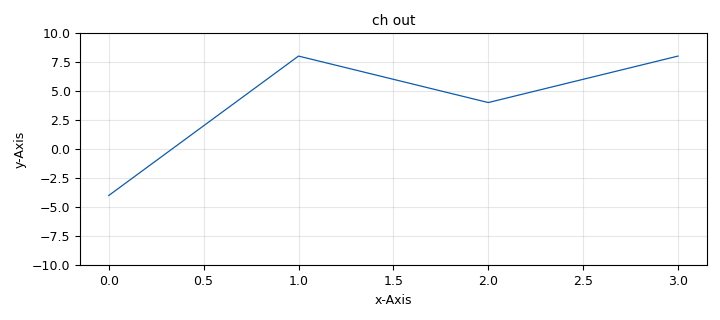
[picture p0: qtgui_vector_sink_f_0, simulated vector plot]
<?xml version='1.0' encoding='utf-8'?>
<?grc format='1' created='3.7.9'?>
<flow_graph>
<block>
<key>options</key>
<param><key>id</key><value>top_block</value></param>
<param><key>category</key><value>Custom</value></param>
<param><key>generate_options</key><value>qt_gui</value></param>
</block>
<block>
<key>variable_qtgui_range</key>
<param><key>id</key><value>na</value></param>
<param><key>value</key><value>0</value></param>
<param><key>orient</key><value>Qt.Horizontal</value></param>
<param><key>start</key><value>0</value></param>
<param><key>step</key><value>0.1</value></param>
<param><key>stop</key><value>10</value></param>
</block>
<block>
<key>variable</key>
<param><key>id</key><value>samp_rate</value></param>
<param><key>value</key><value>32000</value></param>
</block>
<block>
<key>analog_const_source_x</key>
<param><key>id</key><value>analog_const_source_x_0</value></param>
<param><key>const</key><value>2</value></param>
<param><key>type</key><value>float</value></param>
</block>
<block>
<key>analog_const_source_x</key>
<param><key>id</key><value>analog_const_source_x_0_0</value></param>
<param><key>const</key><value>6</value></param>
<param><key>type</key><value>float</value></param>
</block>
<block>
<key>analog_noise_source_x</key>
<param><key>id</key><value>analog_noise_source_x_0</value></param>
<param><key>amp</key><value>na</value></param>
<param><key>noise_type</key><value>analog.GR_GAUSSIAN</value></param>
<param><key>type</key><value>float</value></param>
<param><key>seed</key><value>0</value></param>
</block>
<block>
<key>blocks_add_xx</key>
<param><key>id</key><value>blocks_add_xx_0</value></param>
<param><key>type</key><value>float</value></param>
<param><key>vlen</key><value>4</value></param>
</block>
<block>
<key>blocks_add_xx</key>
<param><key>id</key><value>blocks_add_xx_1</value></param>
<param><key>type</key><value>float</value></param>
<param><key>num_inputs</key><value>4</value></param>
</block>
<block>
<key>blocks_add_xx</key>
<param><key>id</key><value>blocks_add_xx_1_1</value></param>
<param><key>type</key><value>float</value></param>
<param><key>num_inputs</key><value>4</value></param>
</block>
<block>
<key>blocks_add_xx</key>
<param><key>id</key><value>blocks_add_xx_2</value></param>
<param><key>type</key><value>float</value></param>
</block>
<block>
<key>blocks_multiply_const_vxx</key>
<param><key>id</key><value>blocks_multiply_const_vxx_0</value></param>
<param><key>const</key><value>0.25</value></param>
<param><key>type</key><value>float</value></param>
</block>
<block>
<key>blocks_multiply_const_vxx</key>
<param><key>id</key><value>blocks_multiply_const_vxx_0_0</value></param>
<param><key>const</key><value>(1,1,-1,1)</value></param>
<param><key>type</key><value>float</value></param>
<param><key>vlen</key><value>4</value></param>
</block>
<block>
<key>blocks_multiply_const_vxx</key>
<param><key>id</key><value>blocks_multiply_const_vxx_0_0_0</value></param>
<param><key>const</key><value>(-1,1,1,1)</value></param>
<param><key>type</key><value>float</value></param>
<param><key>vlen</key><value>4</value></param>
</block>
<block>
<key>blocks_multiply_const_vxx</key>
<param><key>id</key><value>blocks_multiply_const_vxx_0_0_0_3</value></param>
<param><key>const</key><value>(-1,1,1,1)</value></param>
<param><key>type</key><value>float</value></param>
<param><key>vlen</key><value>4</value></param>
</block>
<block>
<key>blocks_multiply_const_vxx</key>
<param><key>id</key><value>blocks_multiply_const_vxx_0_0_2</value></param>
<param><key>const</key><value>(1,1,-1,1)</value></param>
<param><key>type</key><value>float</value></param>
<param><key>vlen</key><value>4</value></param>
</block>
<block>
<key>blocks_multiply_const_vxx</key>
<param><key>id</key><value>blocks_multiply_const_vxx_0_1</value></param>
<param><key>const</key><value>0.25</value></param>
<param><key>type</key><value>float</value></param>
</block>
<block>
<key>blocks_stream_to_vector</key>
<param><key>id</key><value>blocks_stream_to_vector_0</value></param>
<param><key>type</key><value>float</value></param>
<param><key>num_items</key><value>4</value></param>
</block>
<block>
<key>blocks_stream_to_vector</key>
<param><key>id</key><value>blocks_stream_to_vector_1</value></param>
<param><key>type</key><value>float</value></param>
<param><key>num_items</key><value>4</value></param>
</block>
<block>
<key>blocks_stream_to_vector</key>
<param><key>id</key><value>blocks_stream_to_vector_1_0</value></param>
<param><key>type</key><value>float</value></param>
<param><key>num_items</key><value>4</value></param>
</block>
<block>
<key>blocks_vector_to_stream</key>
<param><key>id</key><value>blocks_vector_to_stream_0</value></param>
<param><key>type</key><value>float</value></param>
<param><key>num_items</key><value>4</value></param>
</block>
<block>
<key>blocks_vector_to_streams</key>
<param><key>id</key><value>blocks_vector_to_streams_0</value></param>
<param><key>type</key><value>float</value></param>
<param><key>num_streams</key><value>4</value></param>
</block>
<block>
<key>blocks_vector_to_streams</key>
<param><key>id</key><value>blocks_vector_to_streams_0_0</value></param>
<param><key>type</key><value>float</value></param>
<param><key>num_streams</key><value>4</value></param>
</block>
<block>
<key>qtgui_number_sink</key>
<param><key>id</key><value>qtgui_number_sink_0</value></param>
<param><key>graph_type</key><value>qtgui.NUM_GRAPH_HORIZ</value></param>
<param><key>type</key><value>float</value></param>
<param><key>max</key><value>10</value></param>
<param><key>min</key><value>-10</value></param>
<param><key>name</key><value>"user 1"</value></param>
<param><key>update_time</key><value>10</value></param>
</block>
<block>
<key>qtgui_number_sink</key>
<param><key>id</key><value>qtgui_number_sink_0_0</value></param>
<param><key>graph_type</key><value>qtgui.NUM_GRAPH_HORIZ</value></param>
<param><key>type</key><value>float</value></param>
<param><key>max</key><value>10</value></param>
<param><key>min</key><value>-10</value></param>
<param><key>name</key><value>"user 2"</value></param>
</block>
<block>
<key>qtgui_vector_sink_f</key>
<param><key>id</key><value>qtgui_vector_sink_f_0</value></param>
<param><key>average</key><value>0.2</value></param>
<param><key>name</key><value>"ch out"</value></param>
<param><key>showports</key><value>True</value></param>
<param><key>vlen</key><value>4</value></param>
<param><key>x_start</key><value>0</value></param>
<param><key>x_step</key><value>1.0</value></param>
<param><key>ymin</key><value>-10</value></param>
</block>
<block>
<key>qtgui_vector_sink_f</key>
<param><key>id</key><value>qtgui_vector_sink_f_1</value></param>
<param><key>name</key><value>"ch in"</value></param>
<param><key>showports</key><value>True</value></param>
<param><key>vlen</key><value>4</value></param>
<param><key>x_start</key><value>0</value></param>
<param><key>x_step</key><value>1.0</value></param>
<param><key>ymin</key><value>-10</value></param>
</block>
<block>
<key>virtual_sink</key>
<param><key>id</key><value>virtual_sink_0</value></param>
</block>
<block>
<key>virtual_source</key>
<param><key>id</key><value>virtual_source_0</value></param>
</block>
<connection><source_block_id>analog_const_source_x_0</source_block_id><sink_block_id>blocks_stream_to_vector_1_0</sink_block_id><source_key>0</source_key><sink_key>0</sink_key></connection>
<connection><source_block_id>analog_const_source_x_0_0</source_block_id><sink_block_id>blocks_stream_to_vector_1</sink_block_id><source_key>0</source_key><sink_key>0</sink_key></connection>
<connection><source_block_id>analog_noise_source_x_0</source_block_id><sink_block_id>blocks_add_xx_2</sink_block_id><source_key>0</source_key><sink_key>1</sink_key></connection>
<connection><source_block_id>blocks_add_xx_0</source_block_id><sink_block_id>blocks_vector_to_stream_0</sink_block_id><source_key>0</source_key><sink_key>0</sink_key></connection>
<connection><source_block_id>blocks_add_xx_0</source_block_id><sink_block_id>qtgui_vector_sink_f_1</sink_block_id><source_key>0</source_key><sink_key>0</sink_key></connection>
<connection><source_block_id>blocks_add_xx_1</source_block_id><sink_block_id>blocks_multiply_const_vxx_0</sink_block_id><source_key>0</source_key><sink_key>0</sink_key></connection>
<connection><source_block_id>blocks_add_xx_1_1</source_block_id><sink_block_id>blocks_multiply_const_vxx_0_1</sink_block_id><source_key>0</source_key><sink_key>0</sink_key></connection>
<connection><source_block_id>blocks_add_xx_2</source_block_id><sink_block_id>virtual_sink_0</sink_block_id><source_key>0</source_key><sink_key>0</sink_key></connection>
<connection><source_block_id>blocks_multiply_const_vxx_0</source_block_id><sink_block_id>qtgui_number_sink_0</sink_block_id><source_key>0</source_key><sink_key>0</sink_key></connection>
<connection><source_block_id>blocks_multiply_const_vxx_0_0</source_block_id><sink_block_id>blocks_add_xx_0</sink_block_id><source_key>0</source_key><sink_key>0</sink_key></connection>
<connection><source_block_id>blocks_multiply_const_vxx_0_0_0</source_block_id><sink_block_id>blocks_add_xx_0</sink_block_id><source_key>0</source_key><sink_key>1</sink_key></connection>
<connection><source_block_id>blocks_multiply_const_vxx_0_0_0_3</source_block_id><sink_block_id>blocks_vector_to_streams_0_0</sink_block_id><source_key>0</source_key><sink_key>0</sink_key></connection>
<connection><source_block_id>blocks_multiply_const_vxx_0_0_2</source_block_id><sink_block_id>blocks_vector_to_streams_0</sink_block_id><source_key>0</source_key><sink_key>0</sink_key></connection>
<connection><source_block_id>blocks_multiply_const_vxx_0_1</source_block_id><sink_block_id>qtgui_number_sink_0_0</sink_block_id><source_key>0</source_key><sink_key>0</sink_key></connection>
<connection><source_block_id>blocks_stream_to_vector_0</source_block_id><sink_block_id>blocks_multiply_const_vxx_0_0_0_3</sink_block_id><source_key>0</source_key><sink_key>0</sink_key></connection>
<connection><source_block_id>blocks_stream_to_vector_0</source_block_id><sink_block_id>blocks_multiply_const_vxx_0_0_2</sink_block_id><source_key>0</source_key><sink_key>0</sink_key></connection>
<connection><source_block_id>blocks_stream_to_vector_0</source_block_id><sink_block_id>qtgui_vector_sink_f_0</sink_block_id><source_key>0</source_key><sink_key>0</sink_key></connection>
<connection><source_block_id>blocks_stream_to_vector_1</source_block_id><sink_block_id>blocks_multiply_const_vxx_0_0_0</sink_block_id><source_key>0</source_key><sink_key>0</sink_key></connection>
<connection><source_block_id>blocks_stream_to_vector_1_0</source_block_id><sink_block_id>blocks_multiply_const_vxx_0_0</sink_block_id><source_key>0</source_key><sink_key>0</sink_key></connection>
<connection><source_block_id>blocks_vector_to_stream_0</source_block_id><sink_block_id>blocks_add_xx_2</sink_block_id><source_key>0</source_key><sink_key>0</sink_key></connection>
<connection><source_block_id>blocks_vector_to_streams_0</source_block_id><sink_block_id>blocks_add_xx_1</sink_block_id><source_key>0</source_key><sink_key>0</sink_key></connection>
<connection><source_block_id>blocks_vector_to_streams_0</source_block_id><sink_block_id>blocks_add_xx_1</sink_block_id><source_key>1</source_key><sink_key>1</sink_key></connection>
<connection><source_block_id>blocks_vector_to_streams_0</source_block_id><sink_block_id>blocks_add_xx_1</sink_block_id><source_key>2</source_key><sink_key>2</sink_key></connection>
<connection><source_block_id>blocks_vector_to_streams_0</source_block_id><sink_block_id>blocks_add_xx_1</sink_block_id><source_key>3</source_key><sink_key>3</sink_key></connection>
<connection><source_block_id>blocks_vector_to_streams_0_0</source_block_id><sink_block_id>blocks_add_xx_1_1</sink_block_id><source_key>0</source_key><sink_key>0</sink_key></connection>
<connection><source_block_id>blocks_vector_to_streams_0_0</source_block_id><sink_block_id>blocks_add_xx_1_1</sink_block_id><source_key>1</source_key><sink_key>1</sink_key></connection>
<connection><source_block_id>blocks_vector_to_streams_0_0</source_block_id><sink_block_id>blocks_add_xx_1_1</sink_block_id><source_key>2</source_key><sink_key>2</sink_key></connection>
<connection><source_block_id>blocks_vector_to_streams_0_0</source_block_id><sink_block_id>blocks_add_xx_1_1</sink_block_id><source_key>3</source_key><sink_key>3</sink_key></connection>
<connection><source_block_id>virtual_source_0</source_block_id><sink_block_id>blocks_stream_to_vector_0</sink_block_id><source_key>0</source_key><sink_key>0</sink_key></connection>
</flow_graph>
